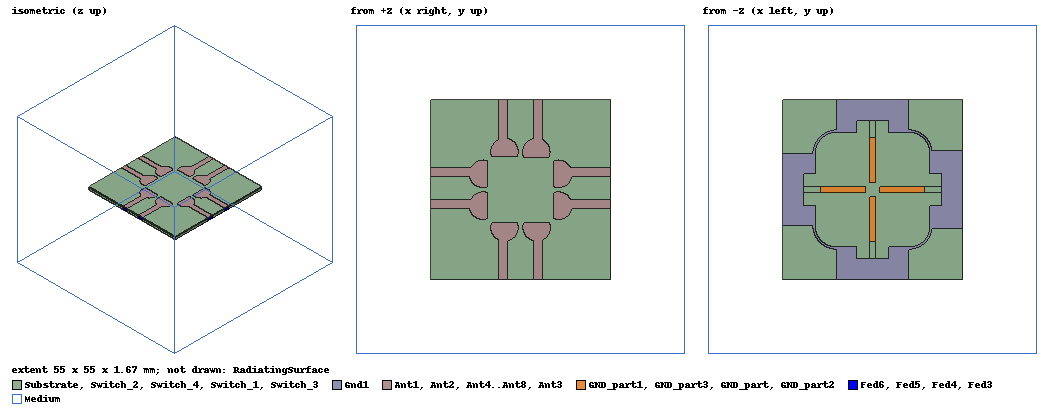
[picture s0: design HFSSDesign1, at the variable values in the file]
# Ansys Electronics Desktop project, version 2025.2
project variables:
  $State = 0
  $sigma_on = 10000S_per_m
  $sigma_off = 82S_per_m
  $sigma_val = if($State==1, $sigma_on,$sigma_off)
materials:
  vacuum: permittivity=1
  air: permittivity=1.0006 permeability=1.0000004
  FR4_epoxy: permittivity=4.4 dielectric_loss_tangent=0.02
  CdS: permittivity=8.9 conductivity=$sigma_val dielectric_loss_tangent=0.001
  copper: permeability=0.999991 conductivity=58000000

design HFSSDesign1 (HFSS, HFSS Terminal Network, model units mm)
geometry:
  Medium [air] = box(corner=(0mm, 0mm, -40mm), size=(100mm, 100mm, 80mm))
  Substrate [FR4_epoxy] = box(corner=(22.5mm, 22.5mm, 0mm), size=(55mm, 55mm, 1.6mm))
  Ant1 [vacuum] = rectangle(corner=(22.5mm, 44.1mm, 1.6mm), x_size=12.5mm, y_size=2.7mm)
  Ant2 [vacuum] = rectangle(corner=(22.5mm, 53.9mm, 1.6mm), x_size=12.5mm, y_size=2.7mm)
  Ant4 [vacuum] = rectangle(corner=(53.9mm, 77.5mm, 1.6mm), x_size=2.7mm, y_size=-12.5mm)
  Ellipse1 = ellipse(normal=Z, centre=(38.5mm, 45.1mm, 1.6mm), major_radius=4.2mm, ratio=1)
  Ellipse2 = ellipse(normal=Z, centre=(38.5mm, 54.8mm, 1.6mm), major_radius=4.2mm, ratio=1)
  Ellipse4 = ellipse(normal=Z, centre=(54.8mm, 61.5mm, 1.6mm), major_radius=4.2mm, ratio=1)
  Ant5 [vacuum] = rectangle(corner=(77.5mm, 53.9mm, 1.6mm), x_size=-12.5mm, y_size=2.7mm)
  Ellipse5 = ellipse(normal=Z, centre=(61.5mm, 54.8mm, 1.6mm), major_radius=4.2mm, ratio=1)
  Ant6 [vacuum] = rectangle(corner=(77.5mm, 44.1mm, 1.6mm), x_size=-12.5mm, y_size=2.7mm)
  Ellipse6 = ellipse(normal=Z, centre=(61.5mm, 45.1mm, 1.6mm), major_radius=4.2mm, ratio=1)
  Ant7 [vacuum] = rectangle(corner=(53.9mm, 22.5mm, 1.6mm), x_size=2.7mm, y_size=12.5mm)
  Ellipse7 = ellipse(normal=Z, centre=(54.9mm, 38.5mm, 1.6mm), major_radius=4.2mm, ratio=1)
  Ant8 [vacuum] = rectangle(corner=(46.1mm, 22.5mm, 1.6mm), x_size=-2.7mm, y_size=12.5mm)
  Ellipse8 = ellipse(normal=Z, centre=(45.1mm, 38.5mm, 1.6mm), major_radius=4.2mm, ratio=1)
  Ant3 [vacuum] = rectangle(corner=(46.1mm, 77.5mm, 1.6mm), x_size=-2.7mm, y_size=-12.5mm)
  Ellipse3 = ellipse(normal=Z, centre=(45.1mm, 61.5mm, 1.6mm), major_radius=4.2mm, ratio=1)
  Ant1.unite(Ellipse1)
  Ant2.unite(Ellipse2)
  Ant3.unite(Ellipse3)
  Ant4.unite(Ellipse4)
  Ant5.unite(Ellipse5)
  Ant6.unite(Ellipse6)
  Ant7.unite(Ellipse7)
  Ant8.unite(Ellipse8)
  Gnd1 [copper] = rectangle(corner=(22.5mm, 38mm, 0mm), x_size=10mm, y_size=24mm)
  Gnd2 = rectangle(corner=(39mm, 67.5mm, 0mm), x_size=22mm, y_size=10mm)
  Gnd3 = rectangle(corner=(67.5mm, 39mm, 0mm), x_size=10mm, y_size=22mm)
  Gnd4 = rectangle(corner=(39mm, 22.5mm, 0mm), x_size=22mm, y_size=10mm)
  C3 = ellipse(normal=Z, centre=(61mm, 39mm, 0mm), major_radius=7.2mm, ratio=1)
  Ellipse11 = ellipse(normal=Z, centre=(61mm, 39mm, 0mm), major_radius=6.5mm, ratio=1)
  C3.subtract(Ellipse11)
  C4 = ellipse(normal=Z, centre=(39mm, 39mm, 0mm), major_radius=7.2mm, ratio=1)
  Ellipse12 = ellipse(normal=Z, centre=(39mm, 39mm, 0mm), major_radius=6.5mm, ratio=1)
  C4.subtract(Ellipse12)
  C1 = ellipse(normal=Z, centre=(39mm, 61mm, 0mm), major_radius=7.2mm, ratio=1)
  Ellipse14 = ellipse(normal=Z, centre=(39mm, 61mm, 0mm), major_radius=6.5mm, ratio=1)
  C1.subtract(Ellipse14)
  C2 = ellipse(normal=Z, centre=(61mm, 61mm, 0mm), major_radius=7.2mm, ratio=1)
  Ellipse15 = ellipse(normal=Z, centre=(61mm, 61mm, 0mm), major_radius=6.5mm, ratio=1)
  C2.subtract(Ellipse15)
  Gnd1.unite(C1, Gnd2, C2, Gnd3, C3, Gnd4, C4)
  Fed6 = rectangle(corner=(77.5mm, 44.1mm, 1.6mm), y_size=2.7mm, z_size=-1.6mm)
  Fed5 = rectangle(corner=(77.5mm, 53.9mm, 1.6mm), y_size=2.7mm, z_size=-1.6mm)
  Fed2 = rectangle(corner=(22.5mm, 56.6mm, 1.6mm), y_size=-2.7mm, z_size=-1.6mm)
  Fed1 = rectangle(corner=(22.5mm, 46.8mm, 1.6mm), y_size=-2.7mm, z_size=-1.6mm)
  Fed4 = rectangle(corner=(56.6mm, 77.5mm, 1.6mm), z_size=-1.6mm, x_size=-2.7mm)
  Fed3 = rectangle(corner=(46.1mm, 77.5mm, 1.6mm), z_size=-1.6mm, x_size=-2.7mm)
  Fed8 = rectangle(corner=(43.4mm, 22.5mm, 1.6mm), z_size=-1.6mm, x_size=2.7mm)
  Fed7 = rectangle(corner=(53.9mm, 22.5mm, 1.6mm), z_size=-1.6mm, x_size=2.7mm)
  Rectangle1 = rectangle(corner=(32.5mm, 39mm, 0mm), x_size=35mm, y_size=22mm)
  Rectangle2 = rectangle(corner=(39mm, 32.5mm, 0mm), x_size=22mm, y_size=35mm)
  Rectangle1.unite(Rectangle2)
  Gnd1.subtract(Rectangle1)
  RadiatingSurface [vacuum] = region(absolute_offset=20mm on all sides)
  Rectangle3 = rectangle(corner=(40mm, 60mm, 1.6mm), x_size=10mm, y_size=-10mm)
  Rectangle4 = rectangle(corner=(50mm, 40mm, 1.6mm), x_size=-10mm, y_size=10mm)
  Rectangle5 = rectangle(corner=(50mm, 40mm, 1.6mm), x_size=10mm, y_size=10mm)
  Rectangle6 = rectangle(corner=(50mm, 59.7mm, 1.6mm), x_size=10mm, y_size=-10mm)
  Rectangle3_1 = Rectangle3.copy()
  Ant2.subtract(Rectangle3_1)
  Ant3.subtract(Rectangle3)
  Rectangle6_1 = Rectangle6.copy()
  Ant4.subtract(Rectangle6_1)
  Ant5.subtract(Rectangle6)
  Rectangle5_1 = Rectangle5.copy()
  Ant6.subtract(Rectangle5_1)
  Ant7.subtract(Rectangle5)
  Rectangle4_1 = Rectangle4.copy()
  Ant1.subtract(Rectangle4_1)
  Ant8.subtract(Rectangle4)
  Rectangle7 = rectangle(corner=(45mm, 34mm, 0mm), x_size=10mm, y_size=-5mm)
  Rectangle8 = rectangle(corner=(29mm, 55mm, 0mm), x_size=5mm, y_size=-10mm)
  Rectangle9 = rectangle(corner=(45mm, 66mm, 0mm), x_size=10mm, y_size=5mm)
  Rectangle10 = rectangle(corner=(71mm, 55mm, 0mm), x_size=-5mm, y_size=-10mm)
  Gnd1.subtract(Rectangle10, Rectangle7, Rectangle8, Rectangle9)
  coordinate_system RelativeCS1 = origin=(40mm, 55mm, 0mm) x=(-40mm, -55mm, 0mm) y=(0mm, -0.2mm, 1.6mm)
  GND_part [copper] = rectangle(corner=(51mm, (22.5+13.75-2.25) mm, 0mm), x_size=-2mm, y_size=13.75mm)
  Switch_1 [CdS] = rectangle(corner=(51mm, 29mm, 0mm), x_size=-2mm, y_size=5mm)
  [Gnd1, Ant1..Ant8, Switch_1, GND_part].thicken(0.035mm)
  Switch_2 [CdS] = rectangle(corner=(51mm, 66mm, 0mm), x_size=-2mm, y_size=5mm)
  Switch_2.thicken(0.035mm)
  GND_part1 [copper] = rectangle(corner=(51mm, 52.25mm, 0mm), x_size=-2mm, y_size=13.75mm)
  GND_part1.thicken(0.035mm)
  GND_part2 [copper] = rectangle(corner=(34mm, 49mm, 0mm), x_size=13.75mm, y_size=2mm)
  GND_part2.thicken(0.035mm)
  Switch_3 [CdS] = rectangle(corner=(29mm, 51mm, 0mm), x_size=5mm, y_size=-2mm)
  Switch_3.thicken(0.035mm)
  GND_part3 [copper] = rectangle(corner=(52.25mm, 49mm, 0mm), x_size=13.75mm, y_size=2mm)
  GND_part3.thicken(0.035mm)
  Switch_4 [CdS] = rectangle(corner=(66mm, 51mm, 0mm), x_size=5mm, y_size=-2mm)
  Switch_4.thicken(0.035mm)
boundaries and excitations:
  PerfE1: Perfect E Objects=Ant1
  PerfE2: Perfect E Objects=Ant2
  PerfE3: Perfect E Objects=Ant3
  PerfE4: Perfect E Objects=Ant4
  PerfE5: Perfect E Objects=Ant5
  PerfE6: Perfect E Objects=Ant6
  PerfE7: Perfect E Objects=Ant7
  PerfE8: Perfect E Objects=Ant8
  PerfE9: Perfect E Objects=Gnd1
  Open1: Radiation Objects=RadiatingSurface
  PerfE10: Perfect E Objects=GND_part
  PerfE11: Perfect E Objects=GND_part1
  PerfE12: Perfect E Objects=GND_part2
  PerfE13: Perfect E Objects=GND_part3
  9: Lumped Port Objects=Fed1 LumpedPortType=Modal Modes{Mode1{IntLine{(22.5, 45.45, 0) -> (22.5, 45.356897, 1.6)} CharImp=Zpi}} Impedance=50ohm
  10: Lumped Port Objects=Fed2 LumpedPortType=Modal Modes{Mode1{IntLine{(22.5, 55.25, 0) -> (22.5, 55.25, 1.6)} CharImp=Zpi}} Impedance=50ohm
  11: Lumped Port Objects=Fed3 LumpedPortType=Modal Modes{Mode1{IntLine{(44.75, 77.5, 0) -> (44.75, 77.5, 1.6)} CharImp=Zpi}} Impedance=50ohm
  12: Lumped Port Objects=Fed4 LumpedPortType=Modal Modes{Mode1{IntLine{(55.25, 77.5, 0) -> (55.25, 77.5, 1.6)} CharImp=Zpi}} Impedance=50ohm
  13: Lumped Port Objects=Fed5 LumpedPortType=Modal Modes{Mode1{IntLine{(77.5, 55.25, 0) -> (77.5, 55.25, 1.6)} CharImp=Zpi}} Impedance=50ohm
  14: Lumped Port Objects=Fed6 LumpedPortType=Modal Modes{Mode1{IntLine{(77.5, 45.45, 0) -> (77.5, 45.45, 1.6)} CharImp=Zpi}} Impedance=50ohm
  15: Lumped Port Objects=Fed7 LumpedPortType=Modal Modes{Mode1{IntLine{(55.25, 22.5, 0) -> (55.25, 22.5, 1.6)} CharImp=Zpi}} Impedance=50ohm
  16: Lumped Port Objects=Fed8 LumpedPortType=Modal Modes{Mode1{IntLine{(44.75, 22.5, 0) -> (44.75, 22.5, 1.6)} CharImp=Zpi}} Impedance=50ohm
  reference conductors: Ant8
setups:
  Setup2: HfssDriven Frequency=5GHz MaxDeltaS=0.02 MaximumPasses=6 MinimumPasses=1 MinimumConvergedPasses=1 PercentRefinement=30 BasisOrder=1 PortAccuracy=2 DrivenSolverType="Direct Solver"
    sweep Sweep: 2GHz to 20GHz step 0.1GHz; Type=Fast SaveFields
    sweep Sweep1: point 9GHz; point 15.1GHz; SaveSingleField Type=Discrete
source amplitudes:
  9:1, 10:1, 11:1, 12:1, 13:1, 14:1, 16:1: 0W 0deg
  15:1: 1W 0deg
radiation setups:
  3D: Infinite Sphere Theta=0deg..180deg step 2deg Phi=-180deg..180deg step 2deg
  Elevation: Infinite Sphere Theta=-180deg..180deg step 1deg Phi=0deg..90deg step 90deg
  Azimuth: Infinite Sphere Theta=90deg..90deg step 0deg Phi=-180deg..180deg step 1deg
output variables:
  ECC = (mag(conjg(S(1,1))*S(1,2)+conjg(S(2,1))*S(2,2)))^2/((1-mag(S(1,1))^2-mag(S(2,1))^2)*(1-mag(S(2,2))^2-mag(S(1,2))^2))
  DG = 10*(sqrt(1-ECC^2))
  TARC = ((sqrt(S(1,1)+S(1,2))^2)+(S(2,1)+S(2,2)^2))/1.414
  CCL = -(log10(1-mag(S(1,1))^2-mag(S(1,2))^2))/log10(2)
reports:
  Terminal S Parameter Plot 2: dB(St(12,14)), dB(St(13,14)), dB(St(9,9)), dB(St(14,14)) vs Freq on Setup2 : Sweep
  Terminal S Parameter Plot 3: dB(St(9,9)), dB(St(10,9)) vs Freq on Setup2 : Sweep; markers m1 at 3.4GHz
  Output Variables Plot 1: ECC vs Freq on Setup2 : Sweep [$State=0,1]
  Output Variables Plot 2: DG vs Freq on Setup2 : Sweep [$State=0,1 $sigma_on=10000 $sigma_off=82]
  Axial Ratio Plot 1: dB(AxialRatioValue) vs Freq on Setup2 : Sweep, 3D [Phi=0deg Theta=0deg]; markers m1 at 6.6GHz, m2 at 9GHz, m3 at 11.9GHz, m4 at 9.254039GHz, m5 at 8.7GHz, m6 at 14.5GHz, m7 at 15.66146GHz, m8 at 15.1GHz
  Gain Plot 1: dB(GainTotal) vs Phi, Theta on Setup2 : LastAdaptive, 3D [Freq=5GHz]
  Gain Plot 2: GainTotal vs Theta on Setup2 : Sweep, Elevation [Phi=all Freq=10GHz]
  CCL: CCL vs Freq on Setup2 : Sweep [$State=0,1]
  TARC: dB20(TARC) vs Freq on Setup2 : Sweep [$State=0,1]
  ECC graph: ECC vs Freq on Setup2 : Sweep [$State=all]; markers m1 at 8.9GHz, m2 at 5GHz, m3 at 3GHz
  DG: DG vs Freq on Setup2 : Sweep [$State=all]
  Gain Linear Plot: dB(GainTotal) vs Freq on Setup2 : Sweep, Elevation [Phi=0deg Theta=0deg]
  Gain Polar Plot: GainTotal vs Theta on Setup2 : Sweep, Elevation [Phi=all Freq=10GHz]
  Eff vs Freq: RadiationEfficiency vs Freq on Setup2 : Sweep
  Antenna Params Plot1: RadiationEfficiency vs Freq on Setup2 : Sweep1
  Antenna Params Plot2: RadiationEfficiency vs Freq on Setup2 : Sweep
  Antenna Params Plot3: mag(RadiationEfficiency) vs Freq on Setup2 : Sweep
  Antenna Params Plot4: dB(RadiationEfficiency) vs Freq on Setup2 : Sweep
  Terminal S Parameter Plot1: dB(St(9,9)) vs Freq on Setup2 : Sweep [$State=all]
  Terminal S Parameter Plot2: dB(St(10,9)) vs Freq on Setup2 : Sweep [$State=all]
